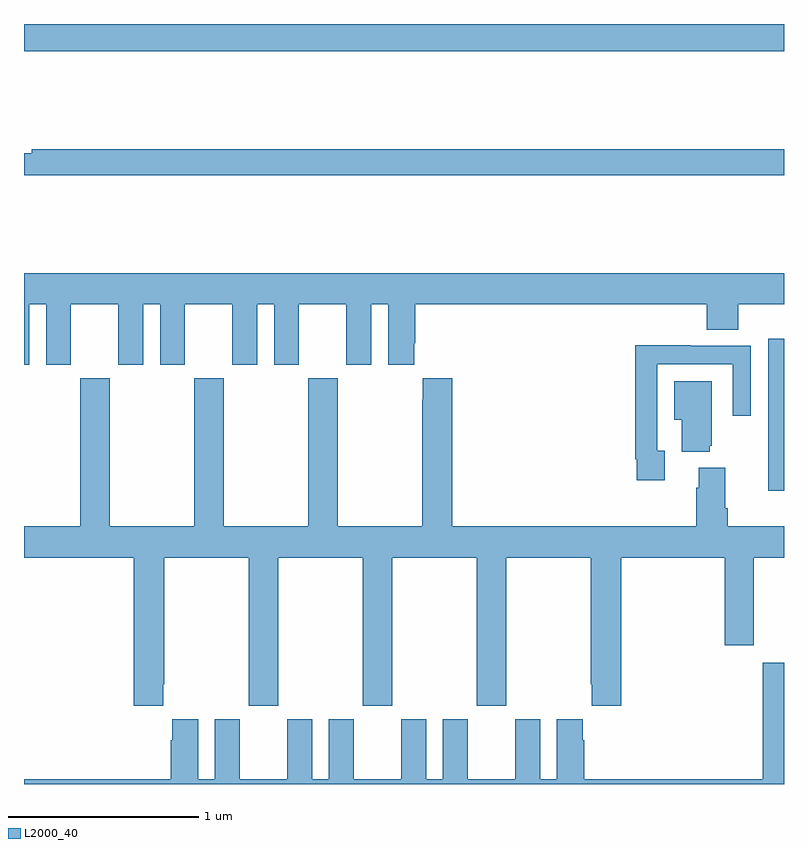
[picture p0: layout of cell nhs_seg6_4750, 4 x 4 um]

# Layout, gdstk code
import gdstk
lib = gdstk.Library(unit=1e-6, precision=1e-09)
def R(c, l, rs):  # rectangles x0, y0, x1, y1
    for r in rs: c.add(gdstk.rectangle(r[:2], r[2:], *l))
def P(c, l, *ps):  # polygons
    for p in ps: c.add(gdstk.Polygon(p, *l))
L2000_40 = (2000, 40)

nhs_seg6_4750 = lib.new_cell('nhs_seg6_4750')
R(nhs_seg6_4750, L2000_40, [(393,927.356,397,927.5)])
P(nhs_seg6_4750, L2000_40, [(397,926.84),(393.04,926.84),(393.04,926.821),(393,926.821),(393,926.704),(397,926.704)],
  [(393.028,926.024),(393.116,926.024),(393.116,925.707),(393.247,925.707),(393.247,926.024),(393.497,926.024),(393.497,925.707),(393.628,925.707),(393.628,926.024),(393.716,926.024),(393.716,925.707),(393.847,925.707),(393.847,926.024),(394.097,926.024),(394.097,925.707),(394.228,925.707),(394.228,926.024),(394.316,926.024),(394.316,925.707),(394.447,925.707),(394.447,926.024),(394.697,926.024),(394.697,925.707),(394.828,925.707),(394.828,926.024),(394.916,926.024),(394.916,925.707),(395.053,925.707),(395.053,925.819),(395.06,925.819),(395.06,926.024),(396.593,926.024),(396.593,925.891),(396.758,925.891),(396.758,926.024),(397,926.024),(397,926.188),(393,926.188),(393,925.707),(393.028,925.707)],
  [(397,925.843),(396.918,925.843),(396.918,925.349),(396.916,925.349),(396.916,925.043),(397,925.043)],
  [(396.373,925.254),(396.333,925.254),(396.333,925.71),(396.729,925.71),(396.729,925.437),(396.825,925.437),(396.825,925.806),(396.509,925.806),(396.509,925.808),(396.217,925.808),(396.217,925.21),(396.225,925.21),(396.225,925.098),(396.373,925.098)],
  [(393.733,924.025),(393.738,924.025),(393.738,924.692),(394.183,924.692),(394.183,923.913),(394.338,923.913),(394.338,924.692),(394.783,924.692),(394.783,923.913),(394.938,923.913),(394.938,924.692),(395.383,924.692),(395.383,923.913),(395.538,923.913),(395.538,924.692),(395.983,924.692),(395.983,924.025),(395.987,924.025),(395.987,923.913),(396.143,923.913),(396.143,924.692),(396.689,924.692),(396.689,924.231),(396.841,924.231),(396.841,924.692),(397,924.692),(397,924.856),(396.704,924.856),(396.704,924.952),(396.691,924.952),(396.691,925.165),(396.551,925.165),(396.551,925.058),(396.539,925.058),(396.539,924.856),(395.255,924.856),(395.255,925.636),(395.099,925.636),(395.099,925.523),(395.095,925.523),(395.095,924.856),(394.65,924.856),(394.65,925.636),(394.495,925.636),(394.495,924.856),(394.05,924.856),(394.05,925.636),(393.895,925.636),(393.895,924.856),(393.45,924.856),(393.45,925.636),(393.295,925.636),(393.295,924.856),(393,924.856),(393,924.692),(393.578,924.692),(393.578,923.913),(393.733,923.913)],
  [(396.608,925.281),(396.619,925.281),(396.619,925.621),(396.422,925.621),(396.422,925.418),(396.461,925.418),(396.461,925.25),(396.608,925.25)],
  [(397,924.139),(396.887,924.139),(396.887,923.524),(395.948,923.524),(395.948,923.729),(395.941,923.729),(395.941,923.842),(395.804,923.842),(395.804,923.524),(395.716,923.524),(395.716,923.842),(395.585,923.842),(395.585,923.524),(395.335,923.524),(395.335,923.842),(395.204,923.842),(395.204,923.524),(395.116,923.524),(395.116,923.842),(394.985,923.842),(394.985,923.524),(394.735,923.524),(394.735,923.842),(394.604,923.842),(394.604,923.524),(394.516,923.524),(394.516,923.842),(394.385,923.842),(394.385,923.524),(394.135,923.524),(394.135,923.842),(394.004,923.842),(394.004,923.524),(393.916,923.524),(393.916,923.842),(393.779,923.842),(393.779,923.729),(393.773,923.729),(393.773,923.524),(393,923.524),(393,923.5),(397,923.5)])

lib.write_gds('nhs_seg6_4750.gds')
